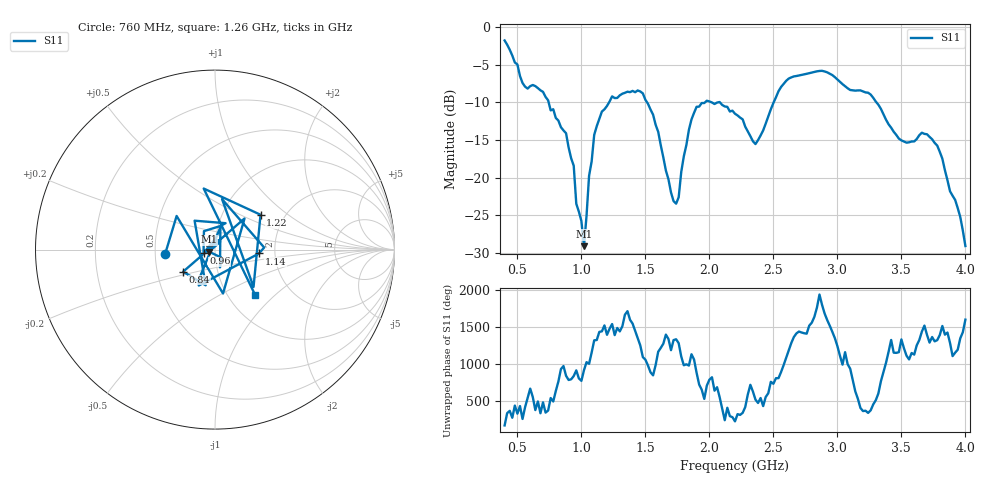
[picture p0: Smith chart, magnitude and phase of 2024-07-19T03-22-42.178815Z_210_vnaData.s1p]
!Created with skrf (http://scikit-rf.org).
# Hz S RI R 50.0
!freq ReS11 ImS11
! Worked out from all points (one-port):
!   181 points, 400 MHz to 4 GHz, reference 50 ohm
!   lowest |S11| = -29.1 dB at 1.02 GHz (marker M1), VSWR 1.07, Z = 46.8 - j1.08 ohm
!   |S11| at or under -10 dB: 743.8 MHz to 1.217 GHz (473.1 MHz wide, 48.3 % of centre); 1.512 GHz to 1.967 GHz (454.4 MHz wide, 26.1 % of centre); 3.304 GHz to end of sweep (the widest 3 of 5)
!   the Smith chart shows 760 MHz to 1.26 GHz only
!   S11 on the Smith chart (normalised r, x): 760 MHz: 0.56, -0.03; 840 MHz: 0.68, -0.18; 960 MHz: 0.88, -0.04; 1.14 GHz: 1.65, -0.08; 1.22 GHz: 1.51, +0.65; 1.26 GHz: 1.33, -0.76
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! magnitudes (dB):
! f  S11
! 400 MHz  -1.8
! 540 MHz  -7.4
! 760 MHz  -11.1
! 840 MHz  -13.3
! 860 MHz  -13.7
! 940 MHz  -18.4
! 960 MHz  -23.5
! 1.02 GHz  -29.1
! 1.06 GHz  -19.8
! 1.1 GHz  -14.3
! 1.14 GHz  -12.2
! 1.22 GHz  -9.9
! 1.26 GHz  -9.4
! 1.3 GHz  -9.1
! 1.48 GHz  -8.8
! 1.6 GHz  -13.9
! 1.72 GHz  -23.1
! 1.76 GHz  -22.6
! 1.84 GHz  -13.6
! 1.9 GHz  -10.6
! 2.2 GHz  -11.5
! 2.36 GHz  -15.5
! 2.66 GHz  -6.6
! 3.1 GHz  -8.4
! 3.26 GHz  -9.0
! 3.56 GHz  -15.3
! 3.78 GHz  -15.8
! 4 GHz  -29.1
